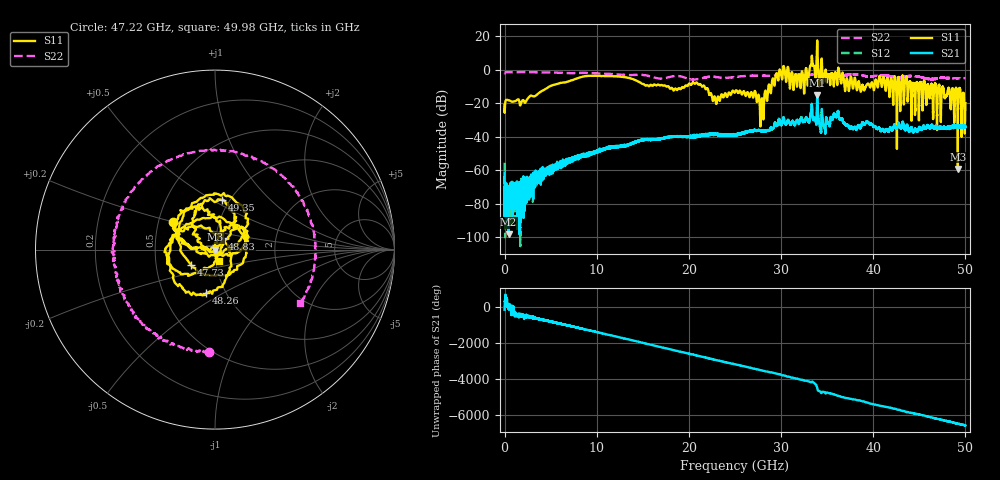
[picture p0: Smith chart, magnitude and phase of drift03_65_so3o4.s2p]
!Created with skrf (http://scikit-rf.org).
# Hz S RI R 50.0
!freq ReS11 ImS11 ReS21 ImS21 ReS12 ImS12 ReS22 ImS22
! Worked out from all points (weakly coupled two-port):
!   10001 points, 300 kHz to 50 GHz, reference 50 ohm
!   highest |S21| = -15.31 dB at 33.92 GHz (marker M1); lowest = -98.2 dB at 430.3 MHz (marker M2)
!   lowest |S11| = -59.1 dB at 49.18 GHz (marker M3), VSWR 1.00, Z = 50.1 + j0.0437 ohm
!   |S11| at or under -10 dB: start of sweep to 4.849 GHz; 21.69 GHz to 28.62 GHz (6.932 GHz wide, 27.6 % of centre); 47.54 GHz to end of sweep (the widest 3 of 41)
!   |S22| runs from -5.9 to -1.3 dB; largest |S21 - S12| = 0.016
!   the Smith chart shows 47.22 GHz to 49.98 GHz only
!   S11 on the Smith chart (normalised r, x): 47.22 GHz: 0.60, +0.20; 47.73 GHz: 0.75, -0.13; 48.26 GHz: 0.81, -0.42; 48.83 GHz: 1.08, +0.14; 49.35 GHz: 0.92, +0.56; 49.98 GHz: 1.04, -0.13
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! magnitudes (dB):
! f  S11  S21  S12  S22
! 300 kHz  -20.8  -61.5  -55.5  -2.1
! 430.3 MHz  -18.2  -98.2  -68.2  -1.5
! 8.335 GHz  -4.3  -51.2  -51.3  -1.9
! 16.67 GHz  -8.8  -41.2  -41.3  -5.2
! 21.01 GHz  -8.7  -39.2  -39.4  -5.5
! 22.81 GHz  -16.2  -38.6  -38.7  -4.3
! 25 GHz  -13.4  -38.8  -38.6  -4.3
! 27.91 GHz  -17.2  -36.1  -36.4  -3.5
! 29.69 GHz  -6.4  -32.1  -31.7  -3.1
! 32.32 GHz  -1.5  -30.3  -30.7  -3.3
! 33.34 GHz  8.3  -20.3  -20.7  -2.9
! 33.92 GHz  17.5  -15.3  -15.5  -2.4
! 38.82 GHz  -9.1  -31.3  -31.6  -3.4
! 41.67 GHz  -9.1  -36.7  -36.9  -3.7
! 47.22 GHz  -11.1  -34.0  -33.9  -4.9
! 47.73 GHz  -16.0  -34.5  -34.4  -4.9
! 48.26 GHz  -12.1  -35.2  -34.5  -5.0
! 48.83 GHz  -22.5  -34.5  -33.8  -5.1
! 49.18 GHz  -59.1  -34.1  -33.6  -5.1
! 49.35 GHz  -11.0  -33.7  -34.0  -5.1
! 49.98 GHz  -23.4  -34.1  -34.3  -5.0
! 50 GHz  -19.9  -34.2  -33.5  -4.9
